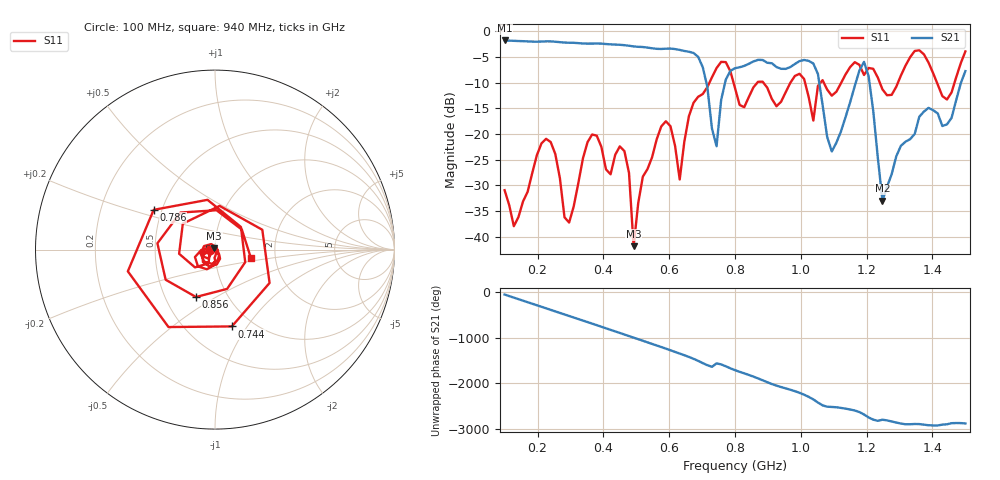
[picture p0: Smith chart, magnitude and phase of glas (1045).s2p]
! NanoVNA-App
! Date: 2025-09-25 16:03:36
! Start: 100MHz Stop: 1,5GHz Points: 101
! S-Parameter data: F S11 S21 S12 S22
# Hz S RI R 50
!  Frequency  S11_Real  S11_Imag  S21_Real  S21_Imag  S12_Real  S12_Imag  S22_Real  S22_Imag
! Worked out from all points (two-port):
!   101 points, 100 MHz to 1.5 GHz, reference 50 ohm
!   highest |S21| = -1.80 dB at 100 MHz (marker M1); lowest = -32.9 dB at 1.248 GHz (marker M2)
!   |S21| within 3 dB of the highest: start of sweep to 684.5 MHz
!   lowest |S11| = -41.8 dB at 492 MHz (marker M3), VSWR 1.02, Z = 49.5 + j0.628 ohm
!   |S11| at or under -10 dB: start of sweep to 722.4 MHz; 795.5 MHz to 867.9 MHz (72.42 MHz wide, 8.71 % of centre); 886.2 MHz to 968.5 MHz (82.33 MHz wide, 8.88 % of centre) (the widest 3 of 7)
!   S12 and S22 are empty: the file has one direction only
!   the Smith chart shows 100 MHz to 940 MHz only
!   S11 on the Smith chart (normalised r, x): 100 MHz: 0.94, -0.01; 744 MHz: 0.80, -0.85; 786 MHz: 0.45, +0.24; 856 MHz: 0.71, -0.41; 940 MHz: 1.49, -0.15
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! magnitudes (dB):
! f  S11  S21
! 100 MHz  -30.9  -1.8
! 128 MHz  -37.9  -1.9
! 226 MHz  -20.9  -2.0
! 296 MHz  -37.2  -2.2
! 338 MHz  -24.7  -2.4
! 464 MHz  -23.3  -2.7
! 492 MHz  -41.8  -3.0
! 576 MHz  -18.5  -3.5
! 632 MHz  -28.8  -3.6
! 702 MHz  -12.2  -7.0
! 744 MHz  -7.2  -22.4
! 786 MHz  -7.8  -7.7
! 800 MHz  -11.0  -7.2
! 856 MHz  -10.9  -5.9
! 940 MHz  -13.7  -7.3
! 996 MHz  -8.3  -5.8
! 1.038 GHz  -17.4  -6.3
! 1.094 GHz  -12.5  -23.4
! 1.192 GHz  -8.5  -6.0
! 1.248 GHz  -11.3  -32.9
! 1.276 GHz  -12.4  -27.8
! 1.5 GHz  -3.9  -7.8
